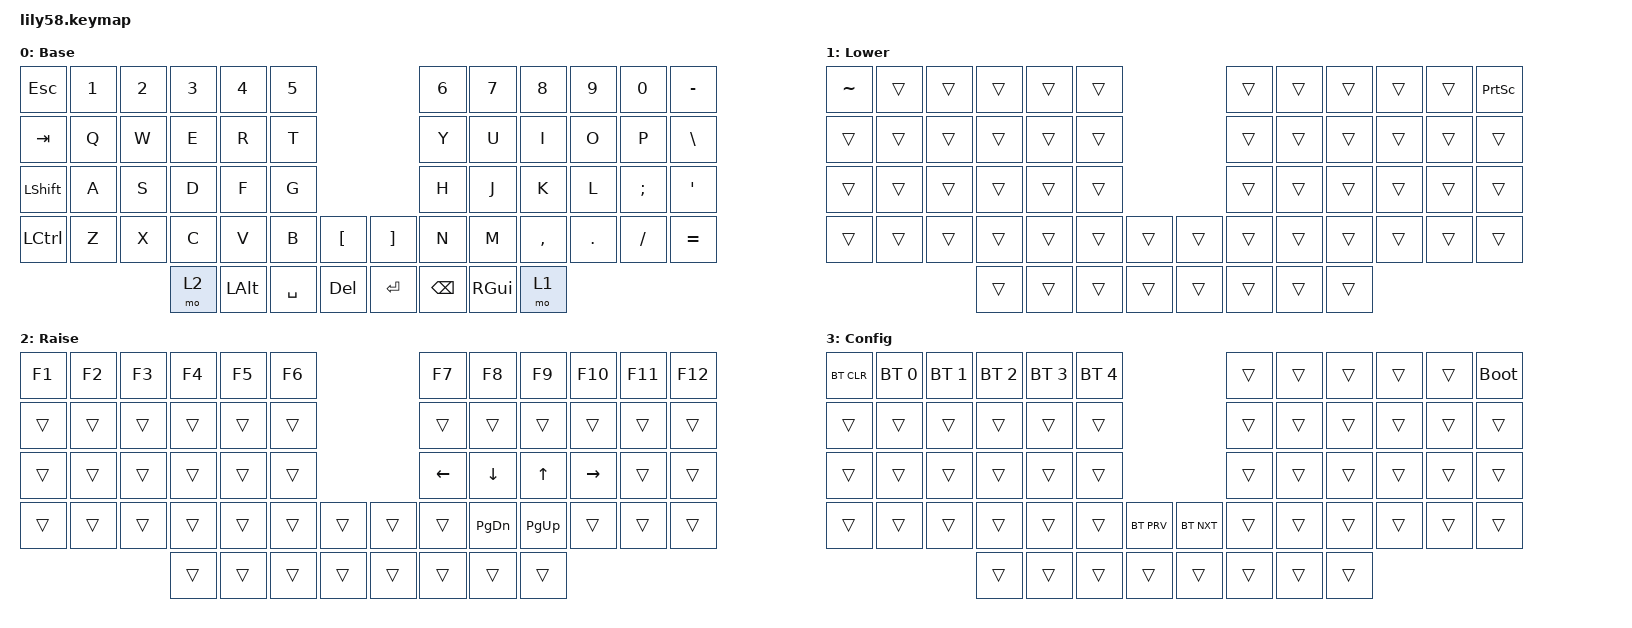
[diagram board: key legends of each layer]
/*
 * Copyright (c) 2020 The ZMK Contributors
 *
 * SPDX-License-Identifier: MIT
 */

#include <behaviors.dtsi>
#include <dt-bindings/zmk/bt.h>
#include <dt-bindings/zmk/keys.h>

/ {
    combos {
        compatible = "zmk,combos";

        config-layer {
            bindings = <&mo 3>;
            key-positions = <50 57>;
        };
    };

    keymap {
        compatible = "zmk,keymap";

        Base {
            bindings = <
&kp ESC    &kp N1  &kp N2  &kp N3  &kp N4    &kp N5                           &kp N6    &kp N7         &kp N8     &kp N9   &kp N0    &kp MINUS
&kp TAB    &kp Q   &kp W   &kp E   &kp R     &kp T                            &kp Y     &kp U          &kp I      &kp O    &kp P     &kp BSLH
&kp LSHFT  &kp A   &kp S   &kp D   &kp F     &kp G                            &kp H     &kp J          &kp K      &kp L    &kp SEMI  &kp SQT
&kp LCTRL  &kp Z   &kp X   &kp C   &kp V     &kp B      &kp LBKT    &kp RBKT  &kp N     &kp M          &kp COMMA  &kp DOT  &kp FSLH  &kp EQUAL
                           &mo 2   &kp LALT  &kp SPACE  &kp DEL     &kp RET   &kp BSPC  &kp RIGHT_GUI  &mo 1
            >;
        };

        Lower {
            bindings = <
&kp TILDE  &trans  &trans  &trans  &trans  &trans                    &trans  &trans  &trans  &trans  &trans  &kp PRINTSCREEN
&trans     &trans  &trans  &trans  &trans  &trans                    &trans  &trans  &trans  &trans  &trans  &trans
&trans     &trans  &trans  &trans  &trans  &trans                    &trans  &trans  &trans  &trans  &trans  &trans
&trans     &trans  &trans  &trans  &trans  &trans  &trans    &trans  &trans  &trans  &trans  &trans  &trans  &trans
                           &trans  &trans  &trans  &trans    &trans  &trans  &trans  &trans
            >;
        };

        Raise {
            bindings = <
&kp F1  &kp F2  &kp F3  &kp F4  &kp F5  &kp F6                    &kp F7    &kp F8         &kp F9       &kp F10    &kp F11  &kp F12
&trans  &trans  &trans  &trans  &trans  &trans                    &trans    &trans         &trans       &trans     &trans   &trans
&trans  &trans  &trans  &trans  &trans  &trans                    &kp LEFT  &kp DOWN       &kp UP       &kp RIGHT  &trans   &trans
&trans  &trans  &trans  &trans  &trans  &trans  &trans    &trans  &trans    &kp PAGE_DOWN  &kp PAGE_UP  &trans     &trans   &trans
                        &trans  &trans  &trans  &trans    &trans  &trans    &trans         &trans
            >;
        };

        Config {
            bindings = <
&bt BT_CLR  &bt BT_SEL 0  &bt BT_SEL 1  &bt BT_SEL 2  &bt BT_SEL 3  &bt BT_SEL 4                            &trans  &trans  &trans  &trans  &trans  &bootloader
&trans      &trans        &trans        &trans        &trans        &trans                                  &trans  &trans  &trans  &trans  &trans  &trans
&trans      &trans        &trans        &trans        &trans        &trans                                  &trans  &trans  &trans  &trans  &trans  &trans
&trans      &trans        &trans        &trans        &trans        &trans        &bt BT_PRV    &bt BT_NXT  &trans  &trans  &trans  &trans  &trans  &trans
                                        &trans        &trans        &trans        &trans        &trans      &trans  &trans  &trans
            >;
        };
    };
};
